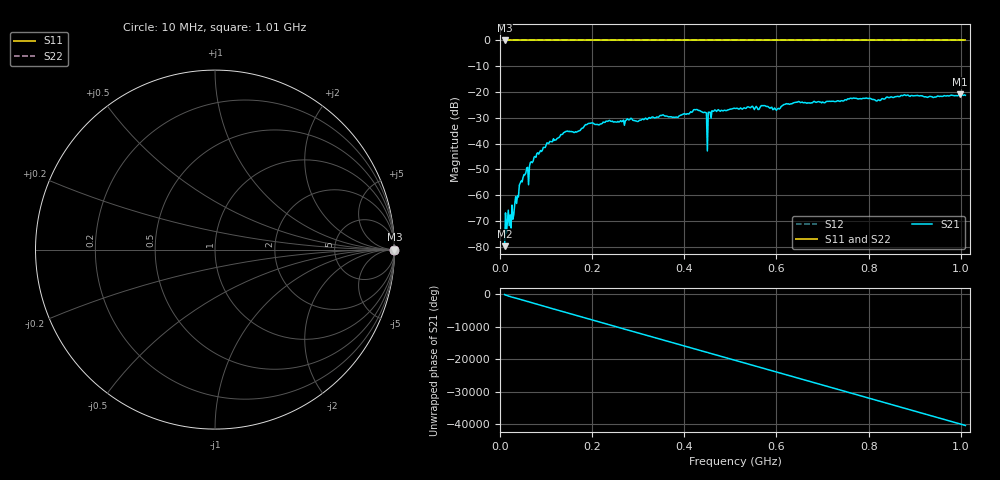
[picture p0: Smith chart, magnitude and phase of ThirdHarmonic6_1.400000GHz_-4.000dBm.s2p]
! 8/16/2025 3:59:47 PM
! C:\ANRITSUVNA\TEMP\TEMP.S2P
! CHANNEL.1
! TR.MEASUREMENT
! RAW.DATA
! RF.CORRECTION.OFF
! AVERAGING.OFF
! IF.BANDWIDTH: 5KHZ
! SWEEPTYPE:  FREQ.SWEEP(Linear)
! Reference Plane Port Info
! PORT:  PORT1  PORT2
! DISTANCE:  0  m  0  m
! TIME:  0  s  0  s
! PHASE.OFFSET:  0  deg.  0  deg.
! LOSS:  0  dB  0  dB
! REF.LOSS:  0  dB  0  dB
! REF.FREQ:  0  Hz  0  Hz
! Power Info
! POWER:  -20  dBm  -20  dBm
! EFF.POWER:  -20  dBm  -20  dBm
! SOURCE.ATTEN:  0  dB  0  dB
! TEST.ATTEN:  0  dB  0  dB
# GHZ S RI R 50.0
! FREQ.GHZ  S11RE  S11IM  S21RE  S21IM  S12RE  S12IM  S22RE  S22IM
!; PortSelection: Port_12
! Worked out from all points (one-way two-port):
!   501 points, 10 MHz to 1.01 GHz, reference 50 ohm
!   highest |S21| = -20.81 dB at 998 MHz (marker M1); lowest = -79.8 dB at 10 MHz (marker M2)
!   lowest |S11| = 0.0 dB at 10 MHz (marker M3)
!   |S11| at or under -10 dB: nowhere
!   |S22| runs from 0.0 to 0.0 dB; largest |S21 - S12| = 1.1
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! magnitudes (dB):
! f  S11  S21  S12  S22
! 10 MHz  0.0  -79.8  0.0  0.0
! 16 MHz  0.0  -70.5  0.0  0.0
! 28 MHz  0.0  -69.3  0.0  0.0
! 46 MHz  0.0  -54.5  0.0  0.0
! 78 MHz  0.0  -45.3  0.0  0.0
! 142 MHz  0.0  -35.3  0.0  0.0
! 178 MHz  0.0  -34.0  0.0  0.0
! 196 MHz  0.0  -32.1  0.0  0.0
! 344 MHz  0.0  -29.8  0.0  0.0
! 382 MHz  0.0  -29.7  0.0  0.0
! 424 MHz  0.0  -26.9  0.0  0.0
! 444 MHz  0.0  -27.8  0.0  0.0
! 446 MHz  0.0  -27.9  0.0  0.0
! 454 MHz  0.0  -27.9  0.0  0.0
! 456 MHz  0.0  -27.8  0.0  0.0
! 464 MHz  0.0  -27.4  0.0  0.0
! 510 MHz  0.0  -26.3  0.0  0.0
! 602 MHz  0.0  -26.5  0.0  0.0
! 678 MHz  0.0  -24.2  0.0  0.0
! 844 MHz  0.0  -22.1  0.0  0.0
! 998 MHz  0.0  -20.8  0.0  0.0
! 1.01 GHz  0.0  -21.3  0.0  0.0
